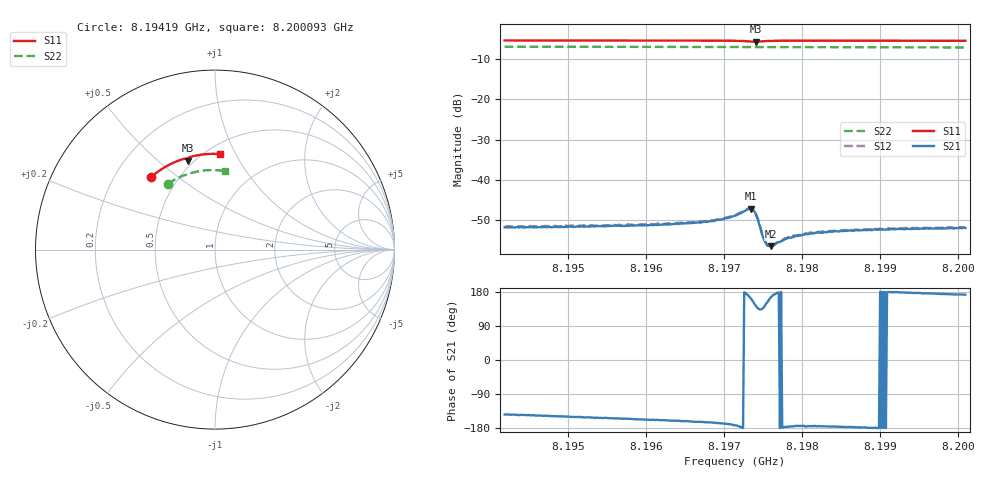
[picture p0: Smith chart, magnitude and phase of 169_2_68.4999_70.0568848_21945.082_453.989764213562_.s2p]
#  HZ  S  RI  R  50.00
! Rohde & Schwarz Vector Network Analyzer
! Rohde-Schwarz,ZNB20-2Port,1311601062101988,3.16
! Created: UTC 3/20/2024, 5:11:16 PM
! freq[Hz]  re:S11  im:S11  re:S21  im:S21  re:S12  im:S12  re:S22  im:S22
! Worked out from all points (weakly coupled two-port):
!   401 points, 8.19419 GHz to 8.200093 GHz, reference 50 ohm
!   highest |S21| = -47.15 dB at 8.197348 GHz (marker M1); lowest = -56.4 dB at 8.197599 GHz (marker M2)
!   lowest |S11| = -5.7 dB at 8.197407 GHz (marker M3), VSWR 3.15, Z = 23.2 + j31.5 ohm
!   |S11| at or under -10 dB: nowhere
!   |S22| runs from -7.1 to -6.9 dB; largest |S21 - S12| = 0.00025
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8.1941899e9  -0.354 0.4057  -0.00208 -0.00152  -0.00218 -0.00151  -0.2623 0.3666
8.1951787e9  -0.2978 0.4475  -0.00232 -0.00127  -0.00241 -0.00125  -0.2146 0.3947
8.1961675e9  -0.2366 0.4818  -0.00258 -0.00101  -0.0027 -0.000937  -0.1638 0.4168
8.196802e9  -0.1939 0.4995  -0.00294 -0.000833  -0.00305 -0.00072  -0.1296 0.4275
8.1969644e9  -0.1821 0.5033  -0.00315 -0.000713  -0.00323 -0.000622  -0.1208 0.4298
8.1971415e9  -0.1679 0.5062  -0.00357 -0.000477  -0.00363 -0.000321  -0.111 0.4322
8.1973038e9  -0.1527 0.5035  -0.00428 0.000637  -0.00433 0.000792  -0.102 0.4339
8.1973481e9  -0.1502 0.4995  -0.00416 0.0014  -0.00417 0.00162  -0.0996 0.4342
8.1973776e9  -0.1505 0.4966  -0.00372 0.00193  -0.00372 0.00218  -0.098 0.4346
8.1974071e9  -0.1529 0.4952  -0.00304 0.00227  -0.00302 0.00243  -0.0964 0.4349
8.1974366e9  -0.1556 0.4962  -0.00229 0.00219  -0.00222 0.00233  -0.0949 0.435
8.1974957e9  -0.1567 0.5021  -0.00144 0.00139  -0.00143 0.00151  -0.0918 0.4359
8.1975252e9  -0.1555 0.505  -0.00138 0.00102  -0.00135 0.00109  -0.0903 0.4363
8.1975547e9  -0.1536 0.5075  -0.00136 0.000725  -0.00138 0.000771  -0.0886 0.4365
8.197599e9  -0.15 0.5104  -0.00146 0.000384  -0.00147 0.000497  -0.086 0.4369
8.1976432e9  -0.1465 0.5125  -0.00156 0.000206  -0.00158 0.000277  -0.0836 0.4375
8.1978056e9  -0.1337 0.5174  -0.00187 -0.000114  -0.00189 -3.48e-05  -0.0745 0.4389
8.1979384e9  -0.1237 0.5203  -0.00204 -0.000207  -0.00205 -0.000116  -0.0669 0.4399
8.1981302e9  -0.1096 0.5235  -0.00214 -0.000212  -0.00223 -0.000112  -0.0562 0.441
8.1984254e9  -0.0884 0.5274  -0.00231 -0.000171  -0.00233 -7.14e-05  -0.0396 0.4423
8.199119e9  -0.0392 0.5326  -0.00243 3.63e-05  -0.00251 0.000137  -9.39e-05 0.4428
8.200093e9  0.03 0.5322  -0.00251 0.000333  -0.00252 0.000477  0.055 0.4375
